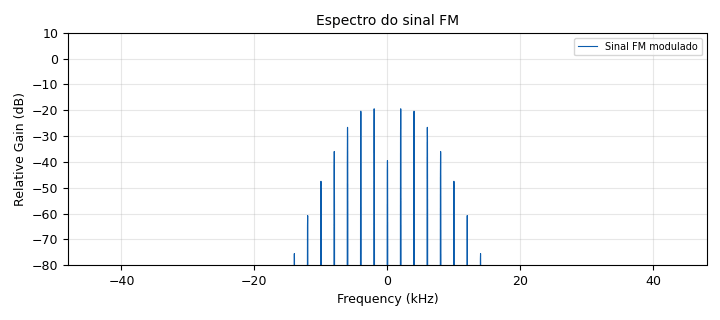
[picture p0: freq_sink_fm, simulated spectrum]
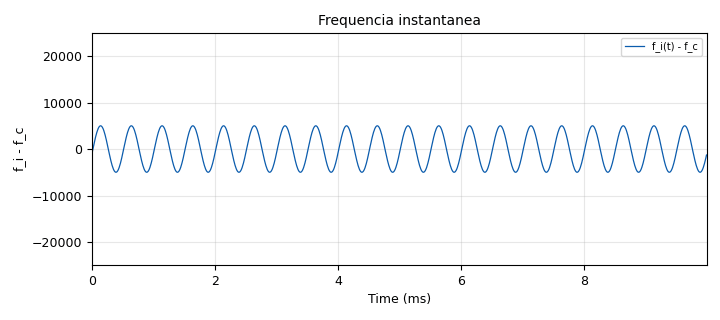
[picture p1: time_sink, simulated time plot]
options:
  parameters:
    author: Prof. Daniel Costa Araújo
    description: 'Pratica 05 - Modulacao FM: desvio, Bessel e Carson'
    generate_options: qt_gui
    id: pratica_05_fm
    output_language: python
    title: Prática 05 - Modulação FM
  states: {}

blocks:
- name: samp_rate
  id: variable
  parameters:
    comment: Taxa de amostragem
    value: '96000'
  states: {}
- name: fm_freq
  id: variable_qtgui_range
  parameters:
    comment: Frequência da mensagem
    gui_hint: 0,0,1,1
    label: Frequência mensagem fm (Hz)
    start: '500'
    step: '500'
    stop: '10000'
    value: '2000'
  states: {}
- name: max_dev
  id: variable_qtgui_range
  parameters:
    comment: Desvio máximo de frequência FM
    gui_hint: 0,1,1,1
    label: Desvio máximo (Hz)
    start: '0'
    step: '10'
    stop: '20000'
    value: '5000'
  states: {}
- name: src_mensagem
  id: analog_sig_source_x
  parameters:
    amp: '1.0'
    comment: Sinal mensagem m(t)
    freq: fm_freq
    offset: '0'
    phase: '0'
    samp_rate: samp_rate
    type: float
    waveform: analog.GR_COS_WAVE
  states: {}
- name: fm_mod
  id: analog_frequency_modulator_fc
  parameters:
    comment: sensibilidade 2 pi max_dev / samp_rate
    sensitivity: 2*math.pi*max_dev/samp_rate
  states: {}
- name: throttle
  id: blocks_throttle2
  parameters:
    samples_per_second: samp_rate
    type: complex
  states: {}
- name: freq_sink_fm
  id: qtgui_freq_sink_x
  parameters:
    bw: samp_rate
    fc: '0'
    fftsize: '8192'
    grid: 'True'
    gui_hint: 2,0,1,1
    label1: Sinal FM modulado
    name: '"Espectro do sinal FM"'
    type: complex
    wintype: window.WIN_FLATTOP
    ymin: '-80'
  states: {}
- name: quad_demod
  id: analog_quadrature_demod_cf
  parameters:
    comment: 'ganho samp_rate/(2 pi): saida em Hz'
    gain: samp_rate/(2*math.pi)
  states: {}
- name: time_sink
  id: qtgui_time_sink_x
  parameters:
    grid: 'True'
    gui_hint: 2,1,1,1
    label1: '"f_i(t) - f_c"'
    name: '"Frequencia instantanea"'
    size: '960'
    srate: samp_rate
    tr_mode: qtgui.TRIG_MODE_AUTO
    type: float
    ylabel: '"f_i - f_c"'
    ymax: '25000'
    ymin: '-25000'
    yunit: '"Hz"'
  states: {}
- name: import_math
  id: import
  parameters:
    imports: import math
  states: {}

connections:
- [src_mensagem, '0', fm_mod, '0']
- [fm_mod, '0', throttle, '0']
- [throttle, '0', freq_sink_fm, '0']
- [throttle, '0', quad_demod, '0']
- [quad_demod, '0', time_sink, '0']

metadata:
  file_format: 1
  grc_version: 3.10.12.0
